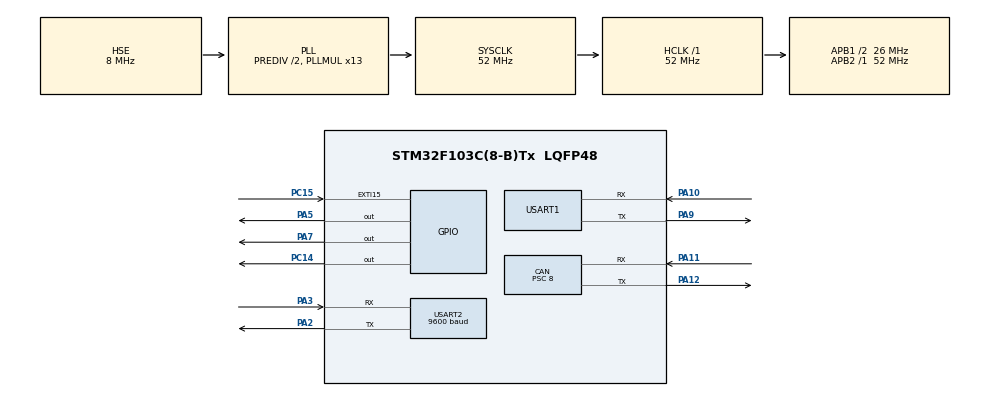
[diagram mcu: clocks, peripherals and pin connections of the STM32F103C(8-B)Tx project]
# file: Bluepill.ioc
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CAN.BS1=CAN_BS1_10TQ
CAN.BS2=CAN_BS2_2TQ
CAN.CalculateBaudRate=250000
CAN.CalculateTimeBit=4000
CAN.CalculateTimeQuantum=307.6923076923077
CAN.NART=ENABLE
CAN.Prescaler=8
Mcu.Family=STM32F1
Mcu.Name=STM32F103C(8-B)Tx
Mcu.Package=LQFP48
NVIC.CAN1_RX1_IRQn=true\:0\:0\:false\:false\:true\:true\:true\:true
NVIC.CAN1_SCE_IRQn=true\:0\:0\:false\:false\:true\:true\:true\:true
NVIC.EXTI15_10_IRQn=true\:0\:0\:false\:false\:true\:true\:true\:true
NVIC.PriorityGroup=NVIC_PRIORITYGROUP_4
NVIC.USART2_IRQn=true\:0\:0\:false\:false\:true\:true\:true\:true
NVIC.USB_HP_CAN1_TX_IRQn=true\:0\:0\:false\:false\:true\:true\:true\:true
NVIC.USB_LP_CAN1_RX0_IRQn=true\:0\:0\:false\:false\:true\:true\:true\:true
PA10.Mode=Asynchronous
PA10.Signal=USART1_RX
PA11.Mode=CAN_Activate
PA11.Signal=CAN_RX
PA12.Mode=CAN_Activate
PA12.Signal=CAN_TX
PA13.Mode=Serial_Wire
PA13.Signal=SYS_JTMS-SWDIO
PA14.Mode=Serial_Wire
PA14.Signal=SYS_JTCK-SWCLK
PA2.Mode=Asynchronous
PA2.Signal=USART2_TX
PA3.Mode=Asynchronous
PA3.Signal=USART2_RX
PA5.Signal=GPIO_Output
PA7.Signal=GPIO_Output
PA9.Mode=Asynchronous
PA9.Signal=USART1_TX
PC14-OSC32_IN.Signal=GPIO_Output
PC15-OSC32_OUT.GPIO_PuPd=GPIO_PULLDOWN
PC15-OSC32_OUT.Signal=GPXTI15
PD0-OSC_IN.Mode=HSE-External-Oscillator
PD0-OSC_IN.Signal=RCC_OSC_IN
PD1-OSC_OUT.Mode=HSE-External-Oscillator
PD1-OSC_OUT.Signal=RCC_OSC_OUT
ProjectManager.HeapSize=0x200
ProjectManager.StackSize=0x400
ProjectManager.TargetToolchain=STM32CubeIDE
RCC.AHBFreq_Value=52000000
RCC.APB1CLKDivider=RCC_HCLK_DIV2
RCC.APB1Freq_Value=26000000
RCC.APB1TimFreq_Value=52000000
RCC.APB2Freq_Value=52000000
RCC.APB2TimFreq_Value=52000000
RCC.HCLKFreq_Value=52000000
RCC.HSEDivPLL=RCC_HSE_PREDIV_DIV2
RCC.PLLMUL=RCC_PLL_MUL13
RCC.PLLSourceVirtual=RCC_PLLSOURCE_HSE
RCC.SYSCLKFreq_VALUE=52000000
RCC.SYSCLKSource=RCC_SYSCLKSOURCE_PLLCLK
RCC.USBFreq_Value=52000000
USART1.VirtualMode=VM_ASYNC
USART2.BaudRate=9600
USART2.VirtualMode=VM_ASYNC
board=custom

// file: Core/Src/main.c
/* USER CODE BEGIN Header */
/**
 ******************************************************************************
 * @file           : main.c
 * @brief          : Main program body
 ******************************************************************************
 * @attention
 *
 * Copyright (c) 2025 STMicroelectronics.
 * All rights reserved.
 *
 * This software is licensed under terms that can be found in the LICENSE file
 * in the root directory of this software component.
 * If no LICENSE file comes with this software, it is provided AS-IS.
 *
 ******************************************************************************
 */
/* USER CODE END Header */
#include "main.h"

/* USER CODE BEGIN Includes */
#include "../../HAL/GPS_Neo_7M/GPS_config.h"
#include "../../HAL/GPS_Neo_7M/GPS_int.h"

#include "../../HAL/NFC/NFC_Int.h"
#include "../../HAL/NFC/NFC_APP_Int.h"

#include "../../Services/CAN_Communication/CAN_interface.h"
/* USER CODE END Includes */

CAN_HandleTypeDef hcan1;

UART_HandleTypeDef huart1;
UART_HandleTypeDef huart2;

void SystemClock_Config(void);
static void MX_GPIO_Init(void);
static void MX_USART2_UART_Init(void);
static void MX_USART1_UART_Init(void);
static void MX_CAN_Init(void);

int main(void)
{

	/* MCU Configuration--------------------------------------------------------*/

	/* Reset of all peripherals, Initializes the Flash interface and the Systick. */
	HAL_Init();

	/* Configure the system clock */
	SystemClock_Config();

	/* Initialize all configured peripherals */
	MX_GPIO_Init();
	MX_USART2_UART_Init();
	MX_USART1_UART_Init();
	MX_CAN_Init();
	/* USER CODE BEGIN 2 */

	CAN1_Init();
	CAN_FilterConfig();
	HAL_CAN_Start(&hcan1);

	GPS_Data GPS;
	GPS_voidInit();

	HAL_GPIO_WritePin(GPIOC, GPIO_PIN_5, GPIO_PIN_SET);
	HAL_GPIO_WritePin(GPIOC, GPIO_PIN_7, GPIO_PIN_SET);

	HAL_Delay(500);

	HAL_GPIO_WritePin(GPIOC, GPIO_PIN_5, GPIO_PIN_RESET);
	HAL_GPIO_WritePin(GPIOC, GPIO_PIN_7, GPIO_PIN_RESET);

	NFC_HAL_Init(&huart1);
	uint8_t state = NFC_Init();

	/* USER CODE END 2 */

	/* Infinite loop */
	while (1)
	{

		/* USER CODE BEGIN 3 */

		//HAL_Delay(1000);
		GPS_voidGetReading(&GPS);

		for(int i = 0; i < 100; i++){
			NFC_Runnable();
		}
	}
	/* USER CODE END 3 */
}

void SystemClock_Config(void)
{
	RCC_OscInitTypeDef RCC_OscInitStruct = {0};
	RCC_ClkInitTypeDef RCC_ClkInitStruct = {0};

	/** Initializes the RCC Oscillators according to the specified parameters
	 * in the RCC_OscInitTypeDef structure.
	 */
	RCC_OscInitStruct.OscillatorType = RCC_OSCILLATORTYPE_HSE;
	RCC_OscInitStruct.HSEState = RCC_HSE_ON;
	RCC_OscInitStruct.HSEPredivValue = RCC_HSE_PREDIV_DIV2;
	RCC_OscInitStruct.HSIState = RCC_HSI_ON;
	RCC_OscInitStruct.PLL.PLLState = RCC_PLL_ON;
	RCC_OscInitStruct.PLL.PLLSource = RCC_PLLSOURCE_HSE;
	RCC_OscInitStruct.PLL.PLLMUL = RCC_PLL_MUL13;
	if (HAL_RCC_OscConfig(&RCC_OscInitStruct) != HAL_OK)
	{
		Error_Handler();
	}

	/** Initializes the CPU, AHB and APB buses clocks
	 */
	RCC_ClkInitStruct.ClockType = RCC_CLOCKTYPE_HCLK|RCC_CLOCKTYPE_SYSCLK
			|RCC_CLOCKTYPE_PCLK1|RCC_CLOCKTYPE_PCLK2;
	RCC_ClkInitStruct.SYSCLKSource = RCC_SYSCLKSOURCE_PLLCLK;
	RCC_ClkInitStruct.AHBCLKDivider = RCC_SYSCLK_DIV1;
	RCC_ClkInitStruct.APB1CLKDivider = RCC_HCLK_DIV2;
	RCC_ClkInitStruct.APB2CLKDivider = RCC_HCLK_DIV1;

	if (HAL_RCC_ClockConfig(&RCC_ClkInitStruct, FLASH_LATENCY_2) != HAL_OK)
	{
		Error_Handler();
	}
}

static void MX_CAN_Init(void)
{

	hcan1.Instance = CAN1;
	hcan1.Init.Prescaler = 8;
	hcan1.Init.Mode = CAN_MODE_NORMAL;
	hcan1.Init.SyncJumpWidth = CAN_SJW_1TQ;
	hcan1.Init.TimeSeg1 = CAN_BS1_10TQ;
	hcan1.Init.TimeSeg2 = CAN_BS2_2TQ;
	hcan1.Init.TimeTriggeredMode = DISABLE;
	hcan1.Init.AutoBusOff = DISABLE;
	hcan1.Init.AutoWakeUp = DISABLE;
	hcan1.Init.AutoRetransmission = ENABLE;
	hcan1.Init.ReceiveFifoLocked = DISABLE;
	hcan1.Init.TransmitFifoPriority = DISABLE;
	if (HAL_CAN_Init(&hcan1) != HAL_OK)
	{
		Error_Handler();
	}

}

static void MX_USART1_UART_Init(void)
{

	huart1.Instance = USART1;
	huart1.Init.BaudRate = 115200;
	huart1.Init.WordLength = UART_WORDLENGTH_8B;
	huart1.Init.StopBits = UART_STOPBITS_1;
	huart1.Init.Parity = UART_PARITY_NONE;
	huart1.Init.Mode = UART_MODE_TX_RX;
	huart1.Init.HwFlowCtl = UART_HWCONTROL_NONE;
	huart1.Init.OverSampling = UART_OVERSAMPLING_16;
	if (HAL_UART_Init(&huart1) != HAL_OK)
	{
		Error_Handler();
	}

}

static void MX_USART2_UART_Init(void)
{

	huart2.Instance = USART2;
	huart2.Init.BaudRate = 9600;
	huart2.Init.WordLength = UART_WORDLENGTH_8B;
	huart2.Init.StopBits = UART_STOPBITS_1;
	huart2.Init.Parity = UART_PARITY_NONE;
	huart2.Init.Mode = UART_MODE_TX_RX;
	huart2.Init.HwFlowCtl = UART_HWCONTROL_NONE;
	huart2.Init.OverSampling = UART_OVERSAMPLING_16;
	if (HAL_UART_Init(&huart2) != HAL_OK)
	{
		Error_Handler();
	}

}

static void MX_GPIO_Init(void)
{
	GPIO_InitTypeDef GPIO_InitStruct = {0};

	/* GPIO Ports Clock Enable */
	__HAL_RCC_GPIOC_CLK_ENABLE();
	__HAL_RCC_GPIOD_CLK_ENABLE();
	__HAL_RCC_GPIOA_CLK_ENABLE();

	/*Configure GPIO pin Output Level */
	HAL_GPIO_WritePin(GPIOC, GPIO_PIN_14, GPIO_PIN_RESET);

	/*Configure GPIO pin Output Level */
	HAL_GPIO_WritePin(GPIOA, GPIO_PIN_5|GPIO_PIN_7, GPIO_PIN_RESET);

	/*Configure GPIO pin : PC14 */
	GPIO_InitStruct.Pin = GPIO_PIN_14;
	GPIO_InitStruct.Mode = GPIO_MODE_OUTPUT_PP;
	GPIO_InitStruct.Pull = GPIO_NOPULL;
	GPIO_InitStruct.Speed = GPIO_SPEED_FREQ_LOW;
	HAL_GPIO_Init(GPIOC, &GPIO_InitStruct);

	/*Configure GPIO pin : PC15 */
	GPIO_InitStruct.Pin = GPIO_PIN_15;
	GPIO_InitStruct.Mode = GPIO_MODE_IT_RISING;
	GPIO_InitStruct.Pull = GPIO_PULLDOWN;
	HAL_GPIO_Init(GPIOC, &GPIO_InitStruct);

	/*Configure GPIO pins : PA5 PA7 */
	GPIO_InitStruct.Pin = GPIO_PIN_5|GPIO_PIN_7;
	GPIO_InitStruct.Mode = GPIO_MODE_OUTPUT_PP;
	GPIO_InitStruct.Pull = GPIO_NOPULL;
	GPIO_InitStruct.Speed = GPIO_SPEED_FREQ_LOW;
	HAL_GPIO_Init(GPIOA, &GPIO_InitStruct);

	/* EXTI interrupt init*/
	HAL_NVIC_SetPriority(EXTI15_10_IRQn, 0, 0);
	HAL_NVIC_EnableIRQ(EXTI15_10_IRQn);

}

void Error_Handler(void)
{
	__disable_irq();
	while (1)
	{
	}
}
